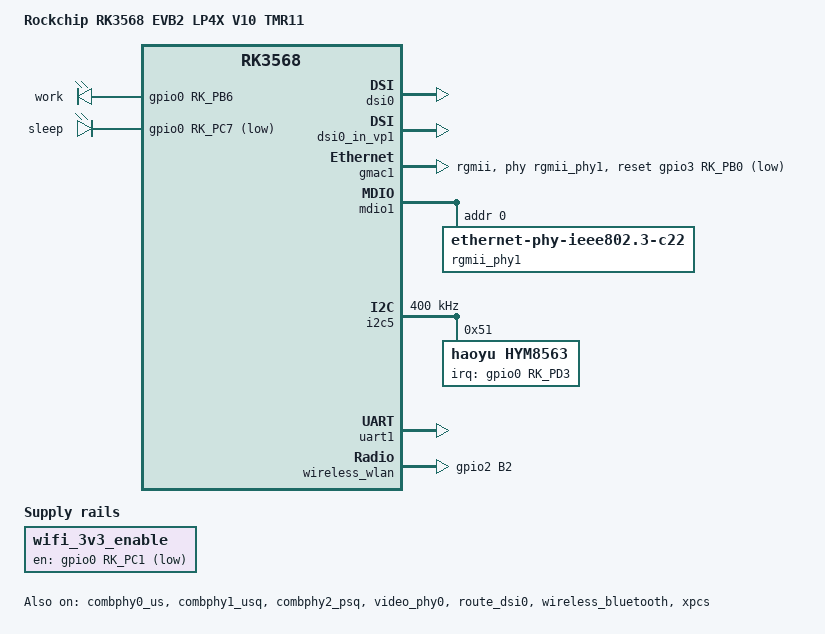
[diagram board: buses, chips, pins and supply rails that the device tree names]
// SPDX-License-Identifier: (GPL-2.0+ OR MIT)
/*
 * Copyright (c) 2020 Rockchip Electronics Co., Ltd.
 *
 */

/dts-v1/;

#include <dt-bindings/gpio/gpio.h>
#include <dt-bindings/pinctrl/rockchip.h>
#include "rk3568.dtsi"
#include "rk3568-evb-tmr11.dtsi"

/ {
	model = "Rockchip RK3568 EVB2 LP4X V10 TMR11";
	compatible = "rockchip,rk3568-evb2-lp4x-v10-tmr11", "rockchip,rk3568";

	rk_headset: rk-headset {
	    status = "disabled";
		compatible = "rockchip_headset";
		headset_gpio = <&gpio4 RK_PC1 GPIO_ACTIVE_LOW>;
		pinctrl-names = "default";
		pinctrl-0 = <&hp_det>;
	};

	leds {
	    compatible = "gpio-leds";
		status = "okay";
		
		work_led {  //高 亮    低  关闭
			gpios = <&gpio0 RK_PB6 GPIO_ACTIVE_HIGH>;
			linux,default-trigger = "none";
			label = "work";
			default-state = "on";
		};

		sleep_led {  //高关   低 
			gpios = <&gpio0 RK_PC7 GPIO_ACTIVE_LOW>;
			linux,default-trigger = "none";
			label = "sleep";
			default-state = "off";
		};
	};
	
	wifi_3v3_enable: wifi-enable-regulator {
		compatible = "regulator-fixed";
		gpio = <&gpio0 RK_PC1 GPIO_ACTIVE_LOW>;
		pinctrl-names = "default";
		pinctrl-0 = <&wifi_pwr_pin>;
		regulator-name = "wifi-pwr";
		regulator-always-on;
	};
};

&combphy0_us {
	status = "okay";
};

&combphy1_usq {
	status = "okay";
};

&combphy2_psq {
	status = "okay";
};

/*
 * video_phy0 needs to be enabled
 * when dsi0 is enabled
 */
&dsi0 {
	status = "okay";
};

&dsi0_in_vp0 {
	status = "disabled";
};

&dsi0_in_vp1 {
	status = "okay";
};

&dsi0_panel {
	power-supply = <&vcc3v3_lcd0_n>;
};


&gmac1 {
	phy-mode = "rgmii";
	wakeup-source; 
	clock_in_out = "output";
	snps,reset-gpio = <&gpio3 RK_PB0 GPIO_ACTIVE_LOW>;
	snps,reset-active-low;
    snps,reset-delays-us = <0 20000 100000>;
	assigned-clocks = <&cru SCLK_GMAC1_RX_TX>, <&cru SCLK_GMAC1>;
	assigned-clock-parents = <&cru SCLK_GMAC1_RGMII_SPEED>;
	assigned-clock-rates = <0>, <125000000>,<25000000>;
	wolirq-gpio = <&gpio0 RK_PB3 GPIO_ACTIVE_LOW>;
	pinctrl-names = "default";
	pinctrl-0 = <&gmac1m1_miim
		     &gmac1m1_tx_bus2
		     &gmac1m1_rx_bus2
		     &gmac1m1_rgmii_clk
		     &gmac1m1_rgmii_bus>;
			 
	tx_delay = <0x4f>;
    rx_delay = <0x26>;

	phy-handle = <&rgmii_phy1>;
	status = "okay";
};



&mdio1 {
	rgmii_phy1: phy@0 {
		compatible = "ethernet-phy-ieee802.3-c22";
		reg = <0x0>;
	};
};



&i2c5 {
	status = "okay";
	clock-frequency = <400000>;
	pinctrl-names = "default";
	pinctrl-0 = <&i2c5m0_xfer>;


	hym8563: hym8563@51 {
		compatible = "haoyu,hym8563";
		reg = <0x51>;
		pinctrl-names = "default";
		pinctrl-0 = <&rtc_int>;
		interrupt-parent = <&gpio0>;
		interrupts = <RK_PD3 IRQ_TYPE_LEVEL_LOW>;
	};
};

&video_phy0 {
	status = "okay";
};


&route_dsi0 {
	status = "okay";
	connect = <&vp1_out_dsi0>;
};



&sdmmc2 {
	status = "disabled";
};

&uart1 {
	status = "okay";
	pinctrl-names = "default";
	pinctrl-0 = <&uart1m0_xfer &uart1m0_ctsn>;
};

&wireless_wlan {
	wifi_chip_type = "RTL8822ES";
	sdio_vref = <1800>;
	rockchip,grf = <&rk809 1>;
	clocks = <&rk809 1>;
	pinctrl-names = "default";
	pinctrl-0 = <&wifi_host_wake_irq>;
	WIFI,host_wake_irq = <&gpio2 RK_PB2 GPIO_ACTIVE_HIGH>;
	
	status = "okay";
};

&wireless_bluetooth {
	compatible = "bluetooth-platdata";
	clocks = <&rk809 1>;//<&hym8563>; <&pmucru CLK_RTC_32K>;
	clock-names = "ext_clock";
	//wifi-bt-power-toggle;
	uart_rts_gpios = <&gpio2 RK_PB5 GPIO_ACTIVE_LOW>;
	pinctrl-names = "default", "rts_gpio";
	pinctrl-0 = <&uart1m0_rtsn>;
	pinctrl-1 = <&uart1_gpios>;
	BT,reset_gpio    = <&gpio2 RK_PB7 GPIO_ACTIVE_HIGH>;
	BT,wake_gpio     = <&gpio2 RK_PC1 GPIO_ACTIVE_HIGH>;
	BT,wake_host_irq = <&gpio2 RK_PC0 GPIO_ACTIVE_HIGH>;
	status = "okay";
};

&xpcs {
	status = "okay";
};

&pinctrl {
	headphone {
		hp_det: hp-det {
			rockchip,pins = <4 RK_PC1 RK_FUNC_GPIO &pcfg_pull_down>;
		};
	};

	rtc {
        rtc_int: rtc-int {
			rockchip,pins = <0 RK_PD3 RK_FUNC_GPIO &pcfg_pull_up>;
        };
     };

	wireless-wlan {
		wifi_host_wake_irq: wifi-host-wake-irq {
			rockchip,pins = <2 RK_PB2 RK_FUNC_GPIO &pcfg_pull_down>;
		};
		wifi_pwr_pin: wifi-pwr {
			rockchip,pins = <0 RK_PC1 RK_FUNC_GPIO &pcfg_pull_down>;
		};
	};

	wireless-bluetooth {
		uart1_gpios: uart1-gpios {
			rockchip,pins = <2 RK_PB5 RK_FUNC_GPIO &pcfg_pull_none>;
		};
	};
};
